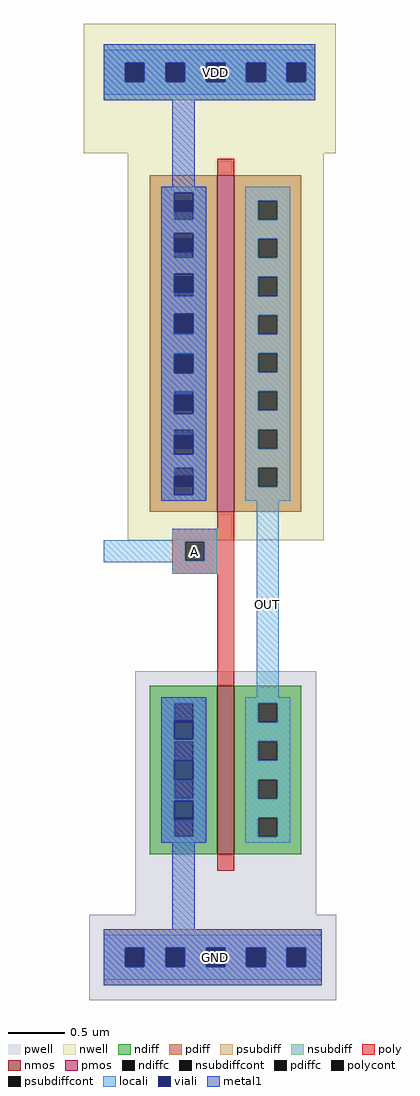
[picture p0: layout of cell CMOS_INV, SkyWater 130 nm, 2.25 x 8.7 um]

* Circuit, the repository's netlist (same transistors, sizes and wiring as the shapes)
* SPICE3 file created from CMOS_INV.ext - technology: sky130A

.subckt INV_VP_VN A OUT VP VN
X0 OUT A VP VP sky130_fd_pr__pfet_01v8 ad=1.8e+12p pd=7.2e+06u as=1.8e+12p ps=7.2e+06u w=3e+06u l=150000u
X1 OUT A VN VN sky130_fd_pr__nfet_01v8 ad=9e+11p pd=4.2e+06u as=9e+11p ps=4.2e+06u w=1.5e+06u l=150000u
.ends

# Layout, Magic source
magic
tech sky130A
magscale 1 2
<< nwell >>
rect 252 1190 701 1420
rect 330 500 680 1190
<< pwell >>
rect 344 -168 666 266
rect 262 -320 702 -168
<< nmos >>
rect 490 -60 520 240
<< pmos >>
rect 490 550 520 1150
<< ndiff >>
rect 370 209 490 240
rect 370 175 413 209
rect 447 175 490 209
rect 370 141 490 175
rect 370 107 413 141
rect 447 107 490 141
rect 370 73 490 107
rect 370 39 413 73
rect 447 39 490 73
rect 370 5 490 39
rect 370 -29 413 5
rect 447 -29 490 5
rect 370 -60 490 -29
rect 520 209 640 240
rect 520 175 563 209
rect 597 175 640 209
rect 520 141 640 175
rect 520 107 563 141
rect 597 107 640 141
rect 520 73 640 107
rect 520 39 563 73
rect 597 39 640 73
rect 520 5 640 39
rect 520 -29 563 5
rect 597 -29 640 5
rect 520 -60 640 -29
<< pdiff >>
rect 370 1105 490 1150
rect 370 1071 413 1105
rect 447 1071 490 1105
rect 370 1037 490 1071
rect 370 1003 413 1037
rect 447 1003 490 1037
rect 370 969 490 1003
rect 370 935 413 969
rect 447 935 490 969
rect 370 901 490 935
rect 370 867 413 901
rect 447 867 490 901
rect 370 833 490 867
rect 370 799 413 833
rect 447 799 490 833
rect 370 765 490 799
rect 370 731 413 765
rect 447 731 490 765
rect 370 697 490 731
rect 370 663 413 697
rect 447 663 490 697
rect 370 629 490 663
rect 370 595 413 629
rect 447 595 490 629
rect 370 550 490 595
rect 520 1105 640 1150
rect 520 1071 563 1105
rect 597 1071 640 1105
rect 520 1037 640 1071
rect 520 1003 563 1037
rect 597 1003 640 1037
rect 520 969 640 1003
rect 520 935 563 969
rect 597 935 640 969
rect 520 901 640 935
rect 520 867 563 901
rect 597 867 640 901
rect 520 833 640 867
rect 520 799 563 833
rect 597 799 640 833
rect 520 765 640 799
rect 520 731 563 765
rect 597 731 640 765
rect 520 697 640 731
rect 520 663 563 697
rect 597 663 640 697
rect 520 629 640 663
rect 520 595 563 629
rect 597 595 640 629
rect 520 550 640 595
<< ndiffc >>
rect 413 175 447 209
rect 413 107 447 141
rect 413 39 447 73
rect 413 -29 447 5
rect 563 175 597 209
rect 563 107 597 141
rect 563 39 597 73
rect 563 -29 597 5
<< pdiffc >>
rect 413 1071 447 1105
rect 413 1003 447 1037
rect 413 935 447 969
rect 413 867 447 901
rect 413 799 447 833
rect 413 731 447 765
rect 413 663 447 697
rect 413 595 447 629
rect 563 1071 597 1105
rect 563 1003 597 1037
rect 563 935 597 969
rect 563 867 597 901
rect 563 799 597 833
rect 563 731 597 765
rect 563 663 597 697
rect 563 595 597 629
<< psubdiff >>
rect 288 -227 676 -194
rect 288 -261 326 -227
rect 360 -261 398 -227
rect 432 -261 470 -227
rect 504 -261 542 -227
rect 576 -261 614 -227
rect 648 -261 676 -227
rect 288 -294 676 -261
<< nsubdiff >>
rect 288 1351 665 1384
rect 288 1317 326 1351
rect 360 1317 398 1351
rect 432 1317 470 1351
rect 504 1317 542 1351
rect 576 1317 614 1351
rect 648 1317 665 1351
rect 288 1284 665 1317
<< psubdiffcont >>
rect 326 -261 360 -227
rect 398 -261 432 -227
rect 470 -261 504 -227
rect 542 -261 576 -227
rect 614 -261 648 -227
<< nsubdiffcont >>
rect 326 1317 360 1351
rect 398 1317 432 1351
rect 470 1317 504 1351
rect 542 1317 576 1351
rect 614 1317 648 1351
<< poly >>
rect 490 1150 520 1180
rect 490 520 520 550
rect 410 497 520 520
rect 410 463 433 497
rect 467 463 520 497
rect 410 440 520 463
rect 490 240 520 440
rect 490 -90 520 -60
<< polycont >>
rect 433 463 467 497
<< locali >>
rect 288 1351 665 1374
rect 288 1317 326 1351
rect 360 1317 398 1351
rect 432 1317 470 1351
rect 504 1317 542 1351
rect 576 1317 614 1351
rect 648 1317 665 1351
rect 288 1294 665 1317
rect 390 1119 470 1130
rect 390 1071 413 1119
rect 447 1071 470 1119
rect 390 1047 470 1071
rect 390 1003 413 1047
rect 447 1003 470 1047
rect 390 975 470 1003
rect 390 935 413 975
rect 447 935 470 975
rect 390 903 470 935
rect 390 867 413 903
rect 447 867 470 903
rect 390 833 470 867
rect 390 797 413 833
rect 447 797 470 833
rect 390 765 470 797
rect 390 725 413 765
rect 447 725 470 765
rect 390 697 470 725
rect 390 653 413 697
rect 447 653 470 697
rect 390 629 470 653
rect 390 581 413 629
rect 447 581 470 629
rect 390 570 470 581
rect 540 1105 620 1130
rect 540 1071 563 1105
rect 597 1071 620 1105
rect 540 1037 620 1071
rect 540 1003 563 1037
rect 597 1003 620 1037
rect 540 969 620 1003
rect 540 935 563 969
rect 597 935 620 969
rect 540 901 620 935
rect 540 867 563 901
rect 597 867 620 901
rect 540 833 620 867
rect 540 799 563 833
rect 597 799 620 833
rect 540 765 620 799
rect 540 731 563 765
rect 597 731 620 765
rect 540 697 620 731
rect 540 663 563 697
rect 597 663 620 697
rect 540 629 620 663
rect 540 595 563 629
rect 597 595 620 629
rect 540 570 620 595
rect 410 500 490 520
rect 288 497 490 500
rect 288 463 433 497
rect 467 463 490 497
rect 288 460 490 463
rect 410 440 490 460
rect 560 220 600 570
rect 390 209 470 220
rect 390 145 413 209
rect 447 145 470 209
rect 390 141 470 145
rect 390 39 413 141
rect 447 39 470 141
rect 390 35 470 39
rect 390 -29 413 35
rect 447 -29 470 35
rect 390 -40 470 -29
rect 540 209 620 220
rect 540 175 563 209
rect 597 175 620 209
rect 540 141 620 175
rect 540 107 563 141
rect 597 107 620 141
rect 540 73 620 107
rect 540 39 563 73
rect 597 39 620 73
rect 540 5 620 39
rect 540 -29 563 5
rect 597 -29 620 5
rect 540 -40 620 -29
rect 288 -227 676 -204
rect 288 -261 326 -227
rect 360 -261 398 -227
rect 432 -261 470 -227
rect 504 -261 542 -227
rect 576 -261 614 -227
rect 648 -261 676 -227
rect 288 -284 676 -261
<< viali >>
rect 326 1317 360 1351
rect 398 1317 432 1351
rect 470 1317 504 1351
rect 542 1317 576 1351
rect 614 1317 648 1351
rect 413 1105 447 1119
rect 413 1085 447 1105
rect 413 1037 447 1047
rect 413 1013 447 1037
rect 413 969 447 975
rect 413 941 447 969
rect 413 901 447 903
rect 413 869 447 901
rect 413 799 447 831
rect 413 797 447 799
rect 413 731 447 759
rect 413 725 447 731
rect 413 663 447 687
rect 413 653 447 663
rect 413 595 447 615
rect 413 581 447 595
rect 413 175 447 179
rect 413 145 447 175
rect 413 73 447 107
rect 413 5 447 35
rect 413 1 447 5
rect 326 -261 360 -227
rect 398 -261 432 -227
rect 470 -261 504 -227
rect 542 -261 576 -227
rect 614 -261 648 -227
<< metal1 >>
rect 288 1351 665 1384
rect 288 1317 326 1351
rect 360 1317 398 1351
rect 432 1317 470 1351
rect 504 1317 542 1351
rect 576 1317 614 1351
rect 648 1317 665 1351
rect 288 1284 665 1317
rect 410 1130 450 1284
rect 390 1119 470 1130
rect 390 1085 413 1119
rect 447 1085 470 1119
rect 390 1047 470 1085
rect 390 1013 413 1047
rect 447 1013 470 1047
rect 390 975 470 1013
rect 390 941 413 975
rect 447 941 470 975
rect 390 903 470 941
rect 390 869 413 903
rect 447 869 470 903
rect 390 831 470 869
rect 390 797 413 831
rect 447 797 470 831
rect 390 759 470 797
rect 390 725 413 759
rect 447 725 470 759
rect 390 687 470 725
rect 390 653 413 687
rect 447 653 470 687
rect 390 615 470 653
rect 390 581 413 615
rect 447 581 470 615
rect 390 570 470 581
rect 390 179 470 220
rect 390 145 413 179
rect 447 145 470 179
rect 390 107 470 145
rect 390 73 413 107
rect 447 73 470 107
rect 390 35 470 73
rect 390 1 413 35
rect 447 1 470 35
rect 390 -40 470 1
rect 410 -194 450 -40
rect 288 -227 676 -194
rect 288 -261 326 -227
rect 360 -261 398 -227
rect 432 -261 470 -227
rect 504 -261 542 -227
rect 576 -261 614 -227
rect 648 -261 676 -227
rect 288 -294 676 -261
<< labels >>
flabel locali s 433 463 467 497 2 FreeSans 2500 0 0 0 A
port 1 nsew
flabel locali s 563 368 597 402 2 FreeSans 3125 0 0 0 OUT
port 2 nsew
flabel metal1 s 470 1317 504 1351 2 FreeSans 2500 0 0 0 VDD
port 3 nsew
flabel metal1 s 470 -261 504 -227 2 FreeSans 2500 0 0 0 GND
port 4 nsew
<< end >>
